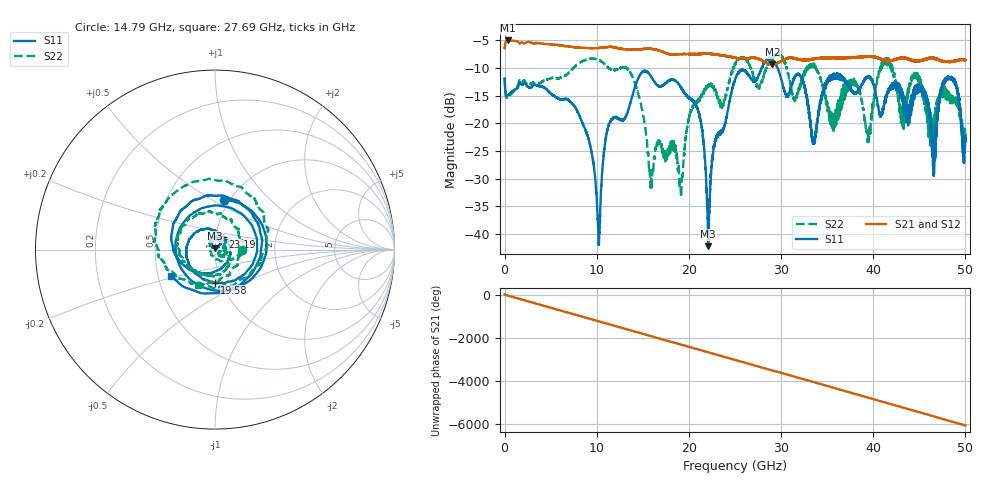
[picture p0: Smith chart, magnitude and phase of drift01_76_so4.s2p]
!Created with skrf (http://scikit-rf.org).
# Hz S RI R 50.0
!freq ReS11 ImS11 ReS21 ImS21 ReS12 ImS12 ReS22 ImS22
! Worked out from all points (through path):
!   10001 points, 300 kHz to 50 GHz, reference 50 ohm
!   highest |S21| = -5.05 dB at 325.3 MHz (marker M1); lowest = -9.4 dB at 29.06 GHz (marker M2)
!   group delay of S21, straight-line fit = 336 ps
!   lowest |S11| = -42.2 dB at 22.09 GHz (marker M3), VSWR 1.02, Z = 50 + j0.777 ohm
!   |S11| at or under -10 dB: start of sweep to 27.9 GHz; 29.6 GHz to end of sweep
!   |S22| runs from -33.1 to -7.4 dB; largest |S21 - S12| = 0.014
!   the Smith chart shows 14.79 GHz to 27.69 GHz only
!   S11 on the Smith chart (normalised r, x): 14.79 GHz: 0.94, +0.57; 19.58 GHz: 0.93, -0.36; 23.19 GHz: 1.08, +0.15; 27.69 GHz: 0.59, -0.19
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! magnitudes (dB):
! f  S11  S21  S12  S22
! 300 kHz  -11.9  -6.4  -6.5  -11.8
! 325.3 MHz  -15.0  -5.1  -5.1  -15.3
! 8.335 GHz  -19.5  -6.3  -6.3  -8.9
! 10.22 GHz  -41.7  -6.4  -6.4  -8.6
! 11.26 GHz  -20.5  -6.2  -6.2  -10.0
! 14.79 GHz  -11.0  -6.6  -6.6  -16.4
! 15.88 GHz  -11.6  -6.6  -6.6  -30.4
! 16.67 GHz  -13.3  -6.8  -6.8  -23.3
! 19.58 GHz  -14.7  -7.5  -7.5  -23.5
! 21.21 GHz  -19.2  -7.5  -7.5  -15.3
! 22.09 GHz  -42.2  -7.4  -7.4  -13.3
! 23.19 GHz  -21.9  -7.6  -7.6  -15.3
! 25 GHz  -12.1  -8.2  -8.2  -9.3
! 27.69 GHz  -10.9  -8.5  -8.5  -13.1
! 29.06 GHz  -8.6  -9.4  -9.4  -8.1
! 33.34 GHz  -22.2  -8.5  -8.4  -9.8
! 39.44 GHz  -11.7  -8.0  -7.9  -21.9
! 41.67 GHz  -13.8  -8.7  -8.7  -9.1
! 45.42 GHz  -14.2  -8.5  -8.5  -14.6
! 46.56 GHz  -25.6  -8.2  -8.2  -20.4
! 48.55 GHz  -11.8  -8.8  -8.9  -16.1
! 50 GHz  -23.1  -8.6  -8.6  -22.9
